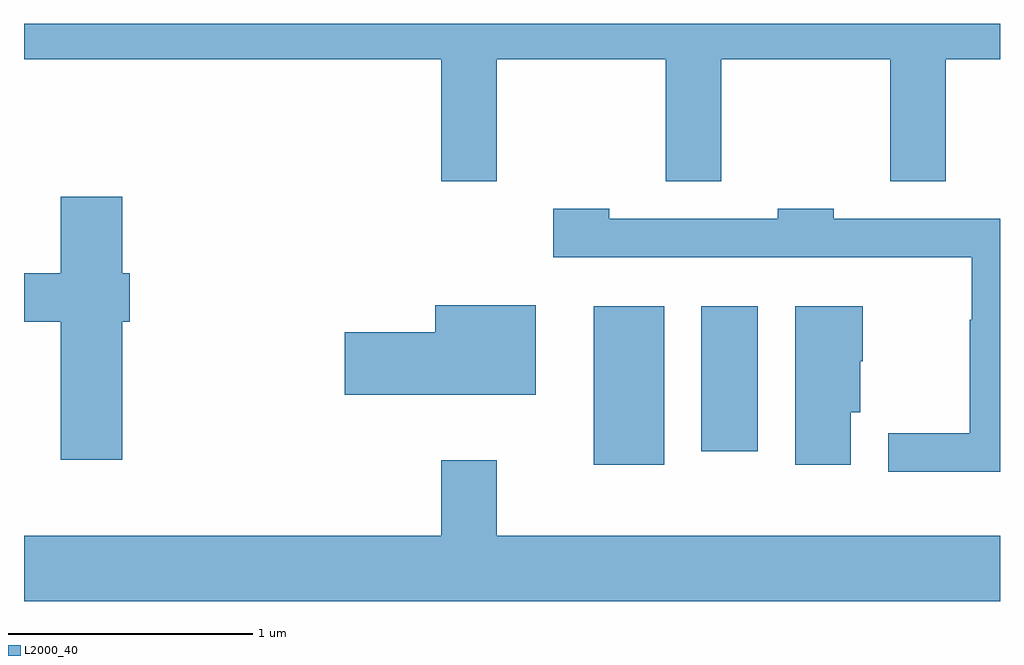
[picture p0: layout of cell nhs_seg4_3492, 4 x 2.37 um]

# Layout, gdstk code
import gdstk
lib = gdstk.Library(unit=1e-6, precision=1e-09)
def R(c, l, rs):  # rectangles x0, y0, x1, y1
    for r in rs: c.add(gdstk.rectangle(r[:2], r[2:], *l))
def P(c, l, *ps):  # polygons
    for p in ps: c.add(gdstk.Polygon(p, *l))
L2000_40 = (2000, 40)

nhs_seg4_3492 = lib.new_cell('nhs_seg4_3492')
R(nhs_seg4_3492, L2000_40, [(289.946,1304.176,290.234,1304.824), (290.386,1304.231,290.619,1304.824)])
P(nhs_seg4_3492, L2000_40, [(289.549,1305.836),(290.241,1305.836),(290.241,1305.336),(290.469,1305.336),(290.469,1305.836),(291.161,1305.836),(291.161,1305.336),(291.389,1305.336),(291.389,1305.836),(291.611,1305.836),(291.611,1305.982),(287.611,1305.982),(287.611,1305.836),(289.321,1305.836),(289.321,1305.336),(289.549,1305.336)],
  [(288.014,1304.761),(288.044,1304.761),(288.044,1304.959),(288.014,1304.959),(288.014,1305.274),(287.761,1305.274),(287.761,1304.959),(287.611,1304.959),(287.611,1304.761),(287.761,1304.761),(287.761,1304.196),(288.014,1304.196)],
  [(291.611,1305.184),(290.929,1305.184),(290.929,1305.224),(290.701,1305.224),(290.701,1305.184),(290.009,1305.184),(290.009,1305.224),(289.781,1305.224),(289.781,1305.026),(291.496,1305.026),(291.496,1304.77),(291.486,1304.77),(291.486,1304.304),(291.153,1304.304),(291.153,1304.146),(291.611,1304.146)],
  [(289.709,1304.829),(289.296,1304.829),(289.296,1304.719),(288.926,1304.719),(288.926,1304.461),(289.709,1304.461)],
  [(290.999,1304.391),(291.039,1304.391),(291.039,1304.6),(291.049,1304.6),(291.049,1304.824),(290.771,1304.824),(290.771,1304.176),(290.999,1304.176)],
  [(291.611,1303.884),(289.549,1303.884),(289.549,1304.194),(289.321,1304.194),(289.321,1303.884),(287.611,1303.884),(287.611,1303.616),(291.611,1303.616)])

lib.write_gds('nhs_seg4_3492.gds')
